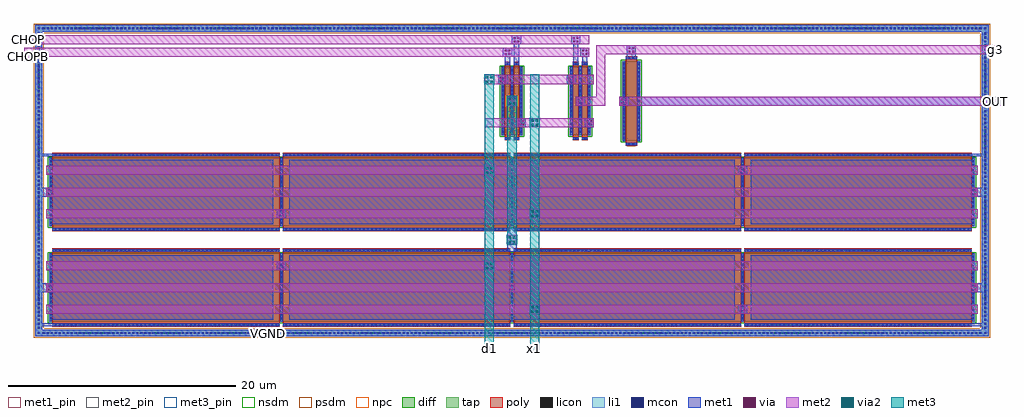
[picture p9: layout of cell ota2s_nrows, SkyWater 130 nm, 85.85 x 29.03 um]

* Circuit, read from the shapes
.subckt ota2s_nrows CHOP CHOPB OUT VGND d1 g3 x1
XM1 d1 VGND VGND VGND sky130_fd_pr__nfet_01v8 w=6 l=20 m=2
XM2 x1 VGND VGND VGND sky130_fd_pr__nfet_01v8 w=6 l=20 m=2
XM3 VGND ota2s_nrows_arr_0/sky130_fd_pr__nfet_01v8_QNMXHS_3/G1 d1 VGND sky130_fd_pr__nfet_01v8 w=6 l=20 m=2
XM4 VGND ota2s_nrows_arr_0/sky130_fd_pr__nfet_01v8_QNMXHS_3/G1 x1 VGND sky130_fd_pr__nfet_01v8 w=6 l=20 m=2
XM5 ota2s_nrows_arr_0/sky130_fd_pr__nfet_01v8_QNMXHS_3/G1 CHOPB d1 VGND sky130_fd_pr__nfet_01v8 w=6 l=0.5
XM6 x1 CHOP ota2s_nrows_arr_0/sky130_fd_pr__nfet_01v8_QNMXHS_3/G1 VGND sky130_fd_pr__nfet_01v8 w=6 l=0.5
XM7 g3 CHOP d1 VGND sky130_fd_pr__nfet_01v8 w=6 l=0.5
XM8 x1 CHOPB g3 VGND sky130_fd_pr__nfet_01v8 w=6 l=0.5
XM9 VGND g3 OUT VGND sky130_fd_pr__nfet_01v8 w=7 l=1
.ends

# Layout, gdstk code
import gdstk
lib = gdstk.Library(unit=1e-6, precision=1e-09)
def R(c, l, rs):  # rectangles x0, y0, x1, y1
    for r in rs: c.add(gdstk.rectangle(r[:2], r[2:], *l))
def A(c, l, x, y, w, h, nx, ny, dx, dy):  # array of equal rectangles
    R(c, l, [(x+i*dx, y+j*dy, x+i*dx+w, y+j*dy+h) for i in range(nx) for j in range(ny)])
diff = (65, 20)
tap = (65, 44)
poly = (66, 20)
licon = (66, 44)
li1 = (67, 20)
mcon = (67, 44)
met1_pin = (68, 16)
met1 = (68, 20)
via = (68, 44)
met2_pin = (69, 16)
met2 = (69, 20)
via2 = (69, 44)
met3_pin = (70, 16)
met3 = (70, 20)
nsdm = (93, 44)
psdm = (94, 20)
npc = (95, 20)

sky130_fd_pr__nfet_01v8_ = lib.new_cell('sky130_fd_pr__nfet_01v8_76BC63')
R(sky130_fd_pr__nfet_01v8_, diff, [(-0.935,-3,0.935,3)])
R(sky130_fd_pr__nfet_01v8_, poly, [(-0.645,-3.44,-0.145,3.44), (0.145,-3.44,0.645,3.44)])
A(sky130_fd_pr__nfet_01v8_, licon, -0.875, -2.805, 0.17, 0.17, 3, 17, 0.79, 0.34)
R(sky130_fd_pr__nfet_01v8_, licon, [(-0.48,-3.36,-0.31,-3.19), (0.31,-3.36,0.48,-3.19), (-0.48,3.19,-0.31,3.36), (0.31,3.19,0.48,3.36)])
A(sky130_fd_pr__nfet_01v8_, li1, -0.875, -3.02, 0.17, 6.04, 3, 1, 0.79, 0)
R(sky130_fd_pr__nfet_01v8_, li1, [(-0.645,-3.36,-0.145,-3.19), (0.145,-3.36,0.645,-3.19), (-0.645,3.19,-0.145,3.36), (0.145,3.19,0.645,3.36)])
A(sky130_fd_pr__nfet_01v8_, mcon, -0.875, -2.785, 0.17, 0.17, 3, 16, 0.79, 0.36)
R(sky130_fd_pr__nfet_01v8_, mcon, [(-0.48,-3.36,-0.31,-3.19), (0.31,-3.36,0.48,-3.19), (-0.48,3.19,-0.31,3.36), (0.31,3.19,0.48,3.36)])
A(sky130_fd_pr__nfet_01v8_, met1, -0.905, -3, 0.23, 6, 3, 1, 0.79, 0)
R(sky130_fd_pr__nfet_01v8_, met1, [(-0.625,-3.39,-0.165,-3.16), (0.165,-3.39,0.625,-3.16), (-0.625,3.16,-0.165,3.39), (0.165,3.16,0.625,3.39)])
R(sky130_fd_pr__nfet_01v8_, nsdm, [(-1.06,-3.125,1.06,3.125)])
R(sky130_fd_pr__nfet_01v8_, npc, [(-0.58,-3.46,-0.21,-3.09), (0.21,-3.46,0.58,-3.09), (-0.58,3.09,-0.21,3.46), (0.21,3.09,0.58,3.46)])
sky130_fd_pr__nfet_01v8_.add(gdstk.Label('D0', (-0.79,0), layer=67, texttype=5))
sky130_fd_pr__nfet_01v8_.add(gdstk.Label('G0', (-0.395,3.275), layer=67, texttype=5))
sky130_fd_pr__nfet_01v8_.add(gdstk.Label('S1', (0,0), layer=67, texttype=5))
sky130_fd_pr__nfet_01v8_.add(gdstk.Label('G1', (0.395,3.275), layer=67, texttype=5))

c_sky130_fd_pr__nfet_01v8_ = lib.new_cell('sky130_fd_pr__nfet_01v8_L624TC')
R(c_sky130_fd_pr__nfet_01v8_, diff, [(-0.79,-3.5,0.79,3.5)])
R(c_sky130_fd_pr__nfet_01v8_, poly, [(-0.5,-3.94,0.5,3.94)])
A(c_sky130_fd_pr__nfet_01v8_, licon, -0.73, -3.315, 0.17, 0.17, 1, 20, 0, 0.34)
A(c_sky130_fd_pr__nfet_01v8_, licon, 0.56, -3.315, 0.17, 0.17, 1, 20, 0, 0.34)
R(c_sky130_fd_pr__nfet_01v8_, licon, [(-0.255,-3.86,-0.085,-3.69), (0.085,-3.86,0.255,-3.69), (-0.255,3.69,-0.085,3.86), (0.085,3.69,0.255,3.86)])
R(c_sky130_fd_pr__nfet_01v8_, li1, [(-0.5,-3.86,0.5,-3.69), (-0.73,-3.52,-0.56,3.52), (0.56,-3.52,0.73,3.52), (-0.5,3.69,0.5,3.86)])
A(c_sky130_fd_pr__nfet_01v8_, mcon, -0.73, -3.325, 0.17, 0.17, 1, 19, 0, 0.36)
A(c_sky130_fd_pr__nfet_01v8_, mcon, 0.56, -3.325, 0.17, 0.17, 1, 19, 0, 0.36)
R(c_sky130_fd_pr__nfet_01v8_, mcon, [(-0.265,-3.86,-0.095,-3.69), (0.095,-3.86,0.265,-3.69), (-0.265,3.69,-0.095,3.86), (0.095,3.69,0.265,3.86)])
R(c_sky130_fd_pr__nfet_01v8_, met1, [(-0.48,-3.89,0.48,-3.66), (-0.76,-3.5,-0.53,3.5), (0.53,-3.5,0.76,3.5), (-0.48,3.66,0.48,3.89)])
R(c_sky130_fd_pr__nfet_01v8_, nsdm, [(-0.915,-3.625,0.915,3.625)])
R(c_sky130_fd_pr__nfet_01v8_, npc, [(-0.355,-3.96,0.355,-3.59), (-0.355,3.59,0.355,3.96)])
c_sky130_fd_pr__nfet_01v8_.add(gdstk.Label('D', (-0.645,0), layer=67, texttype=5))
c_sky130_fd_pr__nfet_01v8_.add(gdstk.Label('S', (0.645,0), layer=67, texttype=5))
c_sky130_fd_pr__nfet_01v8_.add(gdstk.Label('G', (0,3.775), layer=67, texttype=5))

c_sky130_fd_pr__nfet_01v8__ = lib.new_cell('sky130_fd_pr__nfet_01v8_QNMXHS')
R(c_sky130_fd_pr__nfet_01v8__, diff, [(-40.725,-3,40.725,3)])
A(c_sky130_fd_pr__nfet_01v8__, poly, -40.435, -3.44, 20, 6.88, 4, 1, 20.29, 0)
A(c_sky130_fd_pr__nfet_01v8__, licon, -40.21, -3.36, 0.17, 0.17, 58, 2, 0.34, 6.55)
A(c_sky130_fd_pr__nfet_01v8__, licon, -19.92, -3.36, 0.17, 0.17, 58, 2, 0.34, 6.55)
A(c_sky130_fd_pr__nfet_01v8__, licon, 0.37, -3.36, 0.17, 0.17, 58, 2, 0.34, 6.55)
A(c_sky130_fd_pr__nfet_01v8__, licon, 20.66, -3.36, 0.17, 0.17, 58, 2, 0.34, 6.55)
A(c_sky130_fd_pr__nfet_01v8__, licon, -40.665, -2.805, 0.17, 0.17, 5, 17, 20.29, 0.34)
A(c_sky130_fd_pr__nfet_01v8__, li1, -40.435, -3.36, 20, 0.17, 4, 2, 20.29, 6.55)
A(c_sky130_fd_pr__nfet_01v8__, li1, -40.665, -3.02, 0.17, 6.04, 5, 1, 20.29, 0)
A(c_sky130_fd_pr__nfet_01v8__, mcon, -40.24, -3.36, 0.17, 0.17, 55, 2, 0.36, 6.55)
A(c_sky130_fd_pr__nfet_01v8__, mcon, -19.95, -3.36, 0.17, 0.17, 55, 2, 0.36, 6.55)
A(c_sky130_fd_pr__nfet_01v8__, mcon, 0.34, -3.36, 0.17, 0.17, 55, 2, 0.36, 6.55)
A(c_sky130_fd_pr__nfet_01v8__, mcon, 20.63, -3.36, 0.17, 0.17, 55, 2, 0.36, 6.55)
A(c_sky130_fd_pr__nfet_01v8__, mcon, -40.665, -2.785, 0.17, 0.17, 5, 16, 20.29, 0.36)
A(c_sky130_fd_pr__nfet_01v8__, met1, -40.415, -3.39, 19.96, 0.23, 4, 2, 20.29, 6.55)
A(c_sky130_fd_pr__nfet_01v8__, met1, -40.695, -3, 0.23, 6, 5, 1, 20.29, 0)
R(c_sky130_fd_pr__nfet_01v8__, nsdm, [(-40.85,-3.125,40.85,3.125)])
A(c_sky130_fd_pr__nfet_01v8__, npc, -40.31, -3.46, 19.75, 0.37, 4, 2, 20.29, 6.55)
c_sky130_fd_pr__nfet_01v8__.add(gdstk.Label('D0', (-40.58,0), layer=67, texttype=5))
c_sky130_fd_pr__nfet_01v8__.add(gdstk.Label('G0', (-30.435,3.275), layer=67, texttype=5))
c_sky130_fd_pr__nfet_01v8__.add(gdstk.Label('S1', (-20.29,0), layer=67, texttype=5))
c_sky130_fd_pr__nfet_01v8__.add(gdstk.Label('G1', (-10.145,3.275), layer=67, texttype=5))
c_sky130_fd_pr__nfet_01v8__.add(gdstk.Label('D2', (0,0), layer=67, texttype=5))
c_sky130_fd_pr__nfet_01v8__.add(gdstk.Label('G2', (10.145,3.275), layer=67, texttype=5))
c_sky130_fd_pr__nfet_01v8__.add(gdstk.Label('S3', (20.29,0), layer=67, texttype=5))
c_sky130_fd_pr__nfet_01v8__.add(gdstk.Label('G3', (30.435,3.275), layer=67, texttype=5))

ota2s_nrows_arr = lib.new_cell('ota2s_nrows_arr')
R(ota2s_nrows_arr, tap, [(0,0,83.85,0.6), (0,0.6,0.6,26.8), (83.25,0.6,83.85,26.8), (0,26.8,83.85,27.4)])
A(ota2s_nrows_arr, licon, 0.7, 0.215, 0.17, 0.17, 243, 2, 0.34, 26.8)
A(ota2s_nrows_arr, licon, 0.215, 0.695, 0.17, 0.17, 1, 77, 0, 0.34)
A(ota2s_nrows_arr, licon, 83.465, 0.695, 0.17, 0.17, 1, 77, 0, 0.34)
R(ota2s_nrows_arr, licon, [(0.215,0.215,0.385,0.385), (83.465,0.215,83.635,0.385), (0.215,27.015,0.385,27.185), (83.465,27.015,83.635,27.185)])
R(ota2s_nrows_arr, li1, [(0,0,83.85,0.6), (0,0.6,0.6,26.8), (83.25,0.6,83.85,26.8), (0,26.8,83.85,27.4)])
A(ota2s_nrows_arr, mcon, 0.62, 0.215, 0.17, 0.17, 230, 2, 0.36, 26.8)
A(ota2s_nrows_arr, mcon, 0.215, 0.655, 0.17, 0.17, 1, 73, 0, 0.36)
A(ota2s_nrows_arr, mcon, 83.465, 0.655, 0.17, 0.17, 1, 73, 0, 0.36)
R(ota2s_nrows_arr, mcon, [(0.215,0.215,0.385,0.385), (83.465,0.215,83.635,0.385), (0.215,27.015,0.385,27.185), (83.465,27.015,83.635,27.185)])
R(ota2s_nrows_arr, met1, [(0,0,83.85,0.6), (0,0.6,0.6,0.91), (83.25,0.6,83.85,0.91), (0,0.91,21.47,1.14), (62.38,0.91,83.85,1.14), (0,1.14,0.6,3.9), (83.25,1.14,83.85,3.9), (1.23,1.45,20.935,3.9), (22.335,1.45,61.515,7.15), (62.915,1.45,82.62,3.9), (61.815,2,62.615,2.8), (0,3.9,20.935,4.7), (62.915,3.9,83.85,4.7), (0,4.7,0.6,12.3), (1.23,4.7,20.935,7.15), (62.915,4.7,82.62,7.15), (83.25,4.7,83.85,12.3), (21.235,5.8,22.035,6.6), (21.8,7.46,62.05,7.69), (41.525,7.69,42.325,9.31), (21.8,9.31,62.05,9.54), (1.23,9.85,20.935,12.3), (22.335,9.85,61.515,15.55), (62.915,9.85,82.62,12.3), (21.235,10.4,22.035,11.2), (0,12.3,20.935,13.1), (62.915,12.3,83.85,13.1), (0,13.1,0.6,15.86), (1.23,13.1,20.935,15.55), (62.915,13.1,82.62,15.55), (83.25,13.1,83.85,15.86), (61.815,14.2,62.615,15), (0,15.86,21.47,16.09), (62.38,15.86,83.85,16.09), (0,16.09,0.6,26.8), (83.25,16.09,83.85,20.3), (42.315,18.4,43.115,19.2), (48.315,18.4,49.115,19.2), (41.525,20.3,42.325,21.1), (47.525,20.3,48.325,21.1), (51.38,20.3,52.18,21.1), (52.955,20.3,83.85,21.1), (83.25,21.1,83.85,26.8), (40.735,22.2,41.535,23), (46.735,22.2,47.535,23), (41.3,23.86,41.76,24.6), (42.09,23.86,42.55,25.7), (47.3,23.86,47.76,25.7), (48.09,23.86,48.55,24.6), (52.025,24.36,52.825,25.6), (41.13,24.6,41.93,25.4), (47.92,24.6,48.72,25.4), (41.92,25.7,42.72,26.5), (47.13,25.7,47.93,26.5), (0,26.8,83.85,27.4)])
R(ota2s_nrows_arr, via, [(61.98,2.165,62.13,2.315), (62.3,2.165,62.45,2.315), (61.98,2.485,62.13,2.635), (62.3,2.485,62.45,2.635), (1.11,4.065,1.26,4.215), (1.43,4.065,1.58,4.215), (41.69,4.065,41.84,4.215), (42.01,4.065,42.16,4.215), (82.27,4.065,82.42,4.215), (82.59,4.065,82.74,4.215), (1.11,4.385,1.26,4.535), (1.43,4.385,1.58,4.535), (41.69,4.385,41.84,4.535), (42.01,4.385,42.16,4.535), (82.27,4.385,82.42,4.535), (82.59,4.385,82.74,4.535), (21.4,5.965,21.55,6.115), (21.72,5.965,21.87,6.115), (21.4,6.285,21.55,6.435), (21.72,6.285,21.87,6.435), (41.69,8.265,41.84,8.415), (42.01,8.265,42.16,8.415), (41.69,8.585,41.84,8.735), (42.01,8.585,42.16,8.735), (21.4,10.565,21.55,10.715), (21.72,10.565,21.87,10.715), (21.4,10.885,21.55,11.035), (21.72,10.885,21.87,11.035), (1.11,12.465,1.26,12.615), (1.43,12.465,1.58,12.615), (41.69,12.465,41.84,12.615), (42.01,12.465,42.16,12.615), (82.27,12.465,82.42,12.615), (82.59,12.465,82.74,12.615), (1.11,12.785,1.26,12.935), (1.43,12.785,1.58,12.935), (41.69,12.785,41.84,12.935), (42.01,12.785,42.16,12.935), (82.27,12.785,82.42,12.935), (82.59,12.785,82.74,12.935), (61.98,14.365,62.13,14.515), (62.3,14.365,62.45,14.515), (61.98,14.685,62.13,14.835), (62.3,14.685,62.45,14.835), (42.48,18.565,42.63,18.715), (42.8,18.565,42.95,18.715), (48.48,18.565,48.63,18.715), (48.8,18.565,48.95,18.715), (42.48,18.885,42.63,19.035), (42.8,18.885,42.95,19.035), (48.48,18.885,48.63,19.035), (48.8,18.885,48.95,19.035), (41.69,20.465,41.84,20.615), (42.01,20.465,42.16,20.615), (47.69,20.465,47.84,20.615), (48.01,20.465,48.16,20.615), (51.545,20.465,51.695,20.615), (51.865,20.465,52.015,20.615), (41.69,20.785,41.84,20.935), (42.01,20.785,42.16,20.935), (47.69,20.785,47.84,20.935), (48.01,20.785,48.16,20.935), (51.545,20.785,51.695,20.935), (51.865,20.785,52.015,20.935), (40.9,22.365,41.05,22.515), (41.22,22.365,41.37,22.515), (46.9,22.365,47.05,22.515), (47.22,22.365,47.37,22.515), (40.9,22.685,41.05,22.835), (41.22,22.685,41.37,22.835), (46.9,22.685,47.05,22.835), (47.22,22.685,47.37,22.835), (41.295,24.765,41.445,24.915), (41.615,24.765,41.765,24.915), (48.085,24.765,48.235,24.915), (48.405,24.765,48.555,24.915), (52.19,24.965,52.34,25.115), (52.51,24.965,52.66,25.115), (41.295,25.085,41.445,25.235), (41.615,25.085,41.765,25.235), (48.085,25.085,48.235,25.235), (48.405,25.085,48.555,25.235), (52.19,25.285,52.34,25.435), (52.51,25.285,52.66,25.435), (42.085,25.865,42.235,26.015), (42.405,25.865,42.555,26.015), (47.295,25.865,47.445,26.015), (47.615,25.865,47.765,26.015), (42.085,26.185,42.235,26.335), (42.405,26.185,42.555,26.335), (47.295,26.185,47.445,26.335), (47.615,26.185,47.765,26.335)])
A(ota2s_nrows_arr, met2, 0.945, 2, 81.96, 0.8, 1, 3, 0, 1.9)
A(ota2s_nrows_arr, met2, 0.945, 10.4, 81.96, 0.8, 1, 3, 0, 1.9)
R(ota2s_nrows_arr, met2, [(41.525,8.1,42.325,8.9), (39.525,18.4,49.125,19.2), (41.525,20.3,42.325,21.1), (47.525,20.3,50.125,21.1), (51.38,20.3,84.85,21.1), (49.325,21.1,50.125,24.8), (39.525,22.2,49.125,23), (-1,24.6,48.72,25.4), (49.325,24.8,84.85,25.6), (-1,25.7,48.72,26.5)])
R(ota2s_nrows_arr, psdm, [(-0.125,-0.125,83.975,0.725), (-0.125,0.725,0.725,26.675), (83.125,0.725,83.975,26.675), (-0.125,26.675,83.975,27.525)])
ota2s_nrows_arr.add(gdstk.Reference(sky130_fd_pr__nfet_01v8_, (41.925,20.7)))
ota2s_nrows_arr.add(gdstk.Reference(sky130_fd_pr__nfet_01v8_, (47.925,20.7)))
ota2s_nrows_arr.add(gdstk.Reference(c_sky130_fd_pr__nfet_01v8_, (52.425,20.7)))
ota2s_nrows_arr.add(gdstk.Reference(c_sky130_fd_pr__nfet_01v8__, (41.925,4.3)))
ota2s_nrows_arr.add(gdstk.Reference(c_sky130_fd_pr__nfet_01v8__, (41.925,12.7)))

ota2s_nrows = lib.new_cell('ota2s_nrows')
R(ota2s_nrows, met1_pin, [(20,0,21,0.6)])
R(ota2s_nrows, met1, [(20,0,21,0.6)])
R(ota2s_nrows, met2_pin, [(84.05,20.3,84.85,21.1), (-1,24.2,-0.2,25), (84.05,24.8,84.85,25.6), (-1,25.7,-0.2,26.5)])
R(ota2s_nrows, met2, [(43.525,2,44.325,2.8), (39.525,5.8,40.325,6.6), (41.525,8.1,42.325,8.9), (43.525,10.4,44.325,11.2), (39.525,14.2,40.325,15), (43.525,18.4,44.325,19.2), (41.525,20.3,42.325,21.1), (84.05,20.3,84.85,21.1), (39.525,22.2,40.325,23), (-1,24.2,-0.2,25), (84.05,24.8,84.85,25.6), (-1,25.7,-0.2,26.5)])
R(ota2s_nrows, via2, [(43.625,2.1,43.825,2.3), (44.025,2.1,44.225,2.3), (43.625,2.5,43.825,2.7), (44.025,2.5,44.225,2.7), (39.625,5.9,39.825,6.1), (40.025,5.9,40.225,6.1), (39.625,6.3,39.825,6.5), (40.025,6.3,40.225,6.5), (41.625,8.2,41.825,8.4), (42.025,8.2,42.225,8.4), (41.625,8.6,41.825,8.8), (42.025,8.6,42.225,8.8), (43.625,10.5,43.825,10.7), (44.025,10.5,44.225,10.7), (43.625,10.9,43.825,11.1), (44.025,10.9,44.225,11.1), (39.625,14.3,39.825,14.5), (40.025,14.3,40.225,14.5), (39.625,14.7,39.825,14.9), (40.025,14.7,40.225,14.9), (43.625,18.5,43.825,18.7), (44.025,18.5,44.225,18.7), (43.625,18.9,43.825,19.1), (44.025,18.9,44.225,19.1), (41.625,20.4,41.825,20.6), (42.025,20.4,42.225,20.6), (41.625,20.8,41.825,21), (42.025,20.8,42.225,21), (39.625,22.3,39.825,22.5), (40.025,22.3,40.225,22.5), (39.625,22.7,39.825,22.9), (40.025,22.7,40.225,22.9)])
R(ota2s_nrows, met3_pin, [(39.525,-1.5,40.325,-0.7), (43.525,-1.5,44.325,-0.7)])
R(ota2s_nrows, met3, [(39.525,-1.5,40.325,5.75), (43.525,-1.5,44.325,1.95), (43.475,1.95,44.375,2.85), (43.525,2.85,44.325,10.35), (39.475,5.75,40.375,6.65), (39.525,6.65,40.325,14.15), (41.475,8.05,42.375,8.95), (41.525,8.95,42.325,20.25), (43.475,10.35,44.375,11.25), (43.525,11.25,44.325,18.35), (39.475,14.15,40.375,15.05), (39.525,15.05,40.325,22.15), (43.475,18.35,44.375,19.25), (43.525,19.25,44.325,23.05), (41.475,20.25,42.375,21.15), (39.475,22.15,40.375,23.05)])
ota2s_nrows.add(gdstk.Reference(ota2s_nrows_arr, (0,0)))
ota2s_nrows.add(gdstk.Label('d1', (39.925,-1.1), layer=70, texttype=5))
ota2s_nrows.add(gdstk.Label('x1', (43.925,-1.1), layer=70, texttype=5))
ota2s_nrows.add(gdstk.Label('CHOPB', (-0.6,24.6), layer=69, texttype=5))
ota2s_nrows.add(gdstk.Label('g3', (84.45,25.2), layer=69, texttype=5))
ota2s_nrows.add(gdstk.Label('OUT', (84.45,20.7), layer=69, texttype=5))
ota2s_nrows.add(gdstk.Label('VGND', (20.5,0.3), layer=68, texttype=5))
ota2s_nrows.add(gdstk.Label('CHOP', (-0.6,26.1), layer=69, texttype=5))

lib.write_gds('ota2s_nrows.gds')
